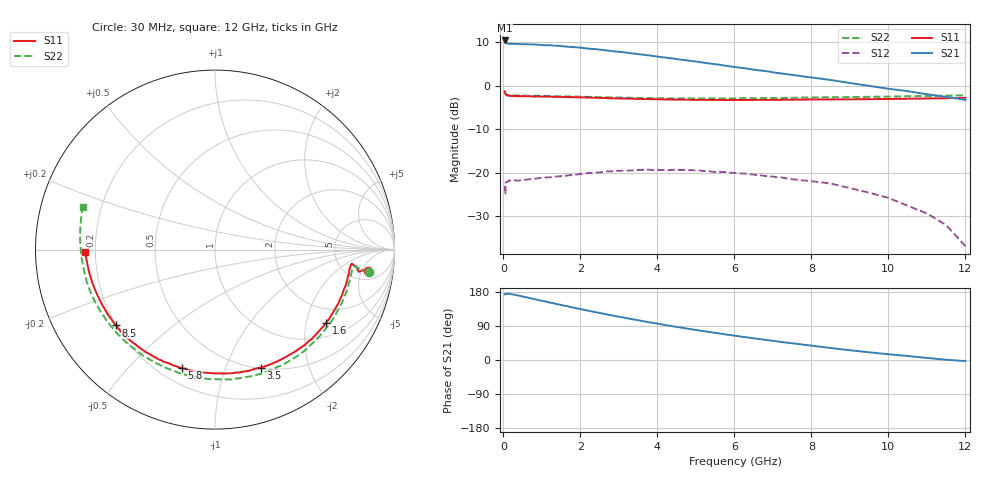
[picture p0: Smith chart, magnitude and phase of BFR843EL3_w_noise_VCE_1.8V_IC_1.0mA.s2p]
! Infineon Technologies  Discrete & RF Semiconductors
! BFR843EL3
! VCE =  1.8 V,  IC =  1.0 mA
! Common Emitter S-Parameters:  Aug 2013
# GHz  S  MA  R  50
!  f  S11  S21  S12  S22
! GHz  MAG  ANG  MAG  ANG  MAG  ANG  MAG  ANG
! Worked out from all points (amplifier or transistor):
!   103 points, 30 MHz to 12 GHz, reference 50 ohm
!   highest |S21| = 10.4 dB at 30 MHz (marker M1)
!   |S21| within 3 dB of that: start of sweep to 3.362 GHz
!   unconditionally stable (mu >= 1): 96.5 MHz to 805.4 MHz; 7.076 GHz to end of sweep
!   at 400 MHz: K = 1.03, MAG = 14.6 dB, |S12| = -21.8 dB
!   at 3.7 GHz: K = 0.75, MSG = 13.2 dB, |S12| = -19.3 dB
!   at 12 GHz: K = 9.84, MAG = 3.9 dB, |S12| = -36.9 dB
!   lowest NFmin = 1.54 dB at 450 MHz
!   S11 on the Smith chart (normalised r, x): 30 MHz: 7.08, -6.54; 1.6 GHz: 1.46, -2.63; 3.5 GHz: 0.51, -1.34; 5.8 GHz: 0.29, -0.72; 8.5 GHz: 0.20, -0.33; 12 GHz: 0.16, -0.01
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0.03  0.859 -8.1  3.31 173.2  0.0627 39.9  0.8686 -8.2
0.04  0.8309 -8.0  3.214 173.6  0.0691 32.5  0.8405 -8.0
0.05  0.8101 -8.8  3.174 174.6  0.0577 30.4  0.8141 -7.9
0.06  0.793 -6.8  3.13 173.9  0.077 28.0  0.809 -7.5
0.08  0.7804 -6.5  3.079 174.6  0.0778 18.4  0.7934 -7.0
0.15  0.7674 -6.0  3.021 174.6  0.0817 10.6  0.7788 -7.1
0.4  0.7579 -9.6  3.017 169.8  0.0814 5.1  0.7709 -12.6
0.8  0.7512 -17.3  2.977 160.7  0.0846 4.8  0.7657 -23.2
1.6  0.7418 -33.2  2.823 143.0  0.0916 2.7  0.7528 -44.7
2.1  0.7333 -43.0  2.699 132.3  0.0975 1.0  0.7456 -57.6
2.6  0.7217 -52.6  2.575 122.0  0.1026 -2.6  0.7379 -69.6
3.5  0.706 -68.6  2.302 104.8  0.1077 -9.9  0.7221 -89.4
4.1  0.6984 -78.8  2.128 94.2  0.1076 -15.3  0.717 -101.3
5.1  0.6879 -94.9  1.865 77.6  0.1059 -25.6  0.7121 -119.2
5.8  0.6849 -105.6  1.687 67.1  0.1016 -32.3  0.7139 -130.3
6.1  0.6853 -110.0  1.62 62.8  0.0986 -34.9  0.7159 -134.9
7.3  0.6895 -127.0  1.369 46.4  0.0869 -46.1  0.7246 -151.3
8.5  0.6954 -142.6  1.163 31.6  0.0751 -58.2  0.7369 -165.9
9.5  0.7 -154.4  0.995 20.3  0.0589 -70.7  0.7447 -176.4
10.5  0.7079 -164.9  0.865 10.6  0.0417 -84.1  0.756 174.3
11.5  0.7171 -174.9  0.744 0.7  0.025 -106.7  0.7679 165.8
12  0.725 -179.1  0.688 -2.9  0.0143 -125.1  0.7749 162.2
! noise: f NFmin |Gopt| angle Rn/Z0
0.45  1.54  0.4  4  0.43
0.9  1.59  0.39  15  0.45
1.5  1.63  0.39  24  0.47
1.9  1.66  0.4  29  0.47
2.4  1.71  0.41  36  0.42
3.5  1.86  0.39  60  0.38
5.5  2.19  0.41  94  0.29
8  2.64  0.47  137  0.21
10  2.99  0.47  192  0.17
